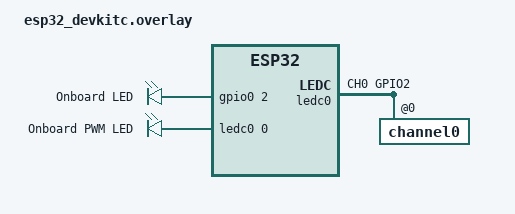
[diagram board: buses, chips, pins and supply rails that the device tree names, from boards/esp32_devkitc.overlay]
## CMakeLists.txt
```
cmake_minimum_required(VERSION 3.20.0)

list(APPEND DTS_ROOT ${CMAKE_CURRENT_SOURCE_DIR}/drivers)

find_package(Zephyr REQUIRED)
project(my_zephyr_app)

add_subdirectory(drivers/sarche_driver)
target_sources(app PRIVATE src/main.cpp)
```

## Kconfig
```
menuconfig LED_SUBSYSTEM
    bool "LED Subsystem"
    default y

source "Kconfig.zephyr"
rsource "drivers/sarche_driver/Kconfig"
```

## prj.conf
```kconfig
CONFIG_GPIO=y
CONFIG_LOG=y
CONFIG_SARCHE_DRIVER=y
```

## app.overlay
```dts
/ {
    aliases {
        app-led = &my_led;
    };

    leds {
        compatible = "gpio-leds";

        my_led: led_0 {
            gpios = <&gpiob 0 GPIO_ACTIVE_HIGH>;
        };
    };
        sarche_driver0: sarche_driver {
        compatible = "sarche,driver";
        status = "okay";
        led-gpios = <&gpiob 0 GPIO_ACTIVE_HIGH>;
    };
};
```

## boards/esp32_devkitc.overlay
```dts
/ {
    leds {
        compatible = "gpio-leds";
        led0: led_0 {
            gpios = <&gpio0 2 GPIO_ACTIVE_HIGH>;
            label = "Onboard LED";
        };
    };

    pwmleds {
        compatible = "pwm-leds";
        pwm_led0: pwm_led_0 {
            label = "Onboard PWM LED";
            /* Channel 0, 20ms (50Hz), normal polarity */
            pwms = <&ledc0 0 20000000 PWM_POLARITY_NORMAL>;
        };
    };

    aliases {
        led0 = &led0;
        pwm-led0 = &pwm_led0;
    };
};

/* Enable the ESP32 LEDC (PWM) controller */
&ledc0 {
    status = "okay";
    pinctrl-0 = <&ledc0_default>;
    pinctrl-names = "default";
    #address-cells = <1>;
    #size-cells = <0>;

    channel0@0 {
        reg = <0>;
        timer = <0>;
    };
};

/* Link PWM Channel 0 to GPIO 2 */
&pinctrl {
    ledc0_default: ledc0_default {
        group1 {
            pinmux = <LEDC_CH0_GPIO2>;
            output-enable;
        };
    };
};
```

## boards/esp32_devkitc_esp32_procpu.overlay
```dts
/* SPDX-License-Identifier: Apache-2.0 */

/ {
	aliases {
		led0 = &led0;
	};

	  leds {
   		compatible = "gpio-leds";
		
   		led0: led_0 {
   			gpios = <&gpio0 2 GPIO_ACTIVE_LOW>;
        };
   	};
};
```

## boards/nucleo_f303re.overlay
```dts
/ {
    pwmleds {
        compatible = "pwm-leds";
        pwm_led_pa5: pwm_led_pa5 {
            pwms = <&pwm2 1 PWM_MSEC(20) PWM_POLARITY_NORMAL>;
            label = "PWM_LED";
        };
    };

    aliases {
        pwm-led0 = &pwm_led_pa5;
    };    
};

&timers2 {
    status = "okay";
    pwm2: pwm {
        status = "okay";
        pinctrl-0 = <&tim2_ch1_pa5>;
        pinctrl-names = "default";
    };
};
```

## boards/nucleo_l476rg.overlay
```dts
/ {
    led_sensor_0: led_sensor {
        compatible = "iomico,led-sensor";
        gpios = <&gpioa 5 GPIO_ACTIVE_HIGH>;
        status = "okay";
    };
};
```

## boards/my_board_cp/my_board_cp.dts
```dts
/*
 * Copyright (c) 2017 Linaro Limited
 *
 * SPDX-License-Identifier: Apache-2.0
 */

/dts-v1/;
#include <st/l4/stm32l476Xg.dtsi>
#include <st/l4/stm32l476r(c-e-g)tx-pinctrl.dtsi>
//#include "arduino_r3_connector.dtsi"
//#include "st_morpho_connector.dtsi"
#include <zephyr/dt-bindings/input/input-event-codes.h>

/ {
	model = "My Board Copied";
	compatible = "my_board_cp,my-board-cp";

	chosen {
		zephyr,console = &usart2;
		zephyr,shell-uart = &usart2;
		zephyr,sram = &sram0;
		zephyr,flash = &flash0;
	};

	leds: leds {
		compatible = "gpio-leds";

		green_led_2: led_2 {
			gpios = <&gpioa 5 GPIO_ACTIVE_HIGH>;
			label = "User LD2";
		};
	};

	gpio_keys {
		compatible = "gpio-keys";

		user_button: button {
			label = "User";
			gpios = <&gpioc 13 GPIO_ACTIVE_LOW>;
			zephyr,code = <INPUT_KEY_0>;
		};
	};

	aliases {
		led0 = &green_led_2;
		sw0 = &user_button;
		volt-sensor0 = &vref;
		volt-sensor1 = &vbat;
	};
};

&clk_lsi {
	status = "okay";
};

&clk_lse {
	status = "okay";
};

&clk_hsi {
	status = "okay";
};

&pll {
	div-m = <1>;
	mul-n = <20>;
	div-r = <4>;
	div-q = <8>;
	clocks = <&clk_hsi>;
	status = "okay";
};

&rcc {
	clocks = <&pll>;
	clock-frequency = <DT_FREQ_M(80)>;
	ahb-prescaler = <1>;
	apb1-prescaler = <1>;
	apb2-prescaler = <1>;
};

stm32_lp_tick_source: &lptim1 {
	clocks = <&rcc STM32_CLOCK(APB1, 31)>,
		 <&rcc STM32_SRC_LSI LPTIM1_SEL(1)>;
	status = "okay";
};

&usart1 {
	pinctrl-0 = <&usart1_tx_pa9 &usart1_rx_pa10>;
	pinctrl-names = "default";
	current-speed = <115200>;
	status = "okay";
};

&usart2 {
	pinctrl-0 = <&usart2_tx_pa2 &usart2_rx_pa3>;
	pinctrl-names = "default";
	current-speed = <115200>;
	status = "okay";
};

&usart3 {
	pinctrl-0 = <&usart3_tx_pb10 &usart3_rx_pb11>;
	pinctrl-names = "default";
	current-speed = <115200>;
};

&i2c1 {
	pinctrl-0 = <&i2c1_scl_pb8 &i2c1_sda_pb9>;
	pinctrl-names = "default";
	status = "okay";
	clock-frequency = <I2C_BITRATE_FAST>;
};

&i2c3 {
	pinctrl-0 = <&i2c3_scl_pc0 &i2c3_sda_pc1>;
	pinctrl-names = "default";
	status = "okay";
	clock-frequency = <I2C_BITRATE_FAST>;
};

&spi1 {
	pinctrl-0 = <&spi1_sck_pa5 &spi1_miso_pa6 &spi1_mosi_pa7>;
	pinctrl-names = "default";
	cs-gpios = <&gpiob 6 (GPIO_ACTIVE_LOW | GPIO_PULL_UP)>;
	status = "okay";
};

&spi2 {
	pinctrl-0 = <&spi2_nss_pb12 &spi2_sck_pb13
		     &spi2_miso_pb14 &spi2_mosi_pb15>;
	pinctrl-names = "default";
	status = "okay";
};

&spi3 {
	/* SPI3 on the ST Morpho Connector CN7 pins 17, 1, 2, 3*/
	pinctrl-0 = <&spi3_nss_pa15 &spi3_sck_pc10
		     &spi3_miso_pc11 &spi3_mosi_pc12>;
	pinctrl-names = "default";
	status = "okay";
};

&timers2 {
	status = "okay";

	pwm2: pwm {
		status = "okay";
		pinctrl-0 = <&tim2_ch3_pb10>;
		pinctrl-names = "default";
	};
};

&timers3 {
	st,prescaler = <10000>;
	status = "okay";

	pwm3: pwm {
		status = "okay";
		pinctrl-0 = <&tim3_ch1_pb4>;
		pinctrl-names = "default";
	};
};

&rtc {
	clocks = <&rcc STM32_CLOCK(APB1, 28)>,
		 <&rcc STM32_SRC_LSI RTC_SEL(2)>;
	status = "okay";
};

&adc1 {
	pinctrl-0 = <&adc1_in1_pc0>;
	pinctrl-names = "default";
	st,adc-clock-source = "SYNC";
	st,adc-prescaler = <4>;
	status = "okay";
};

&vref {
	status = "okay";
};

&vbat {
	status = "okay";
};

&flash0 {
	partitions {
		compatible = "fixed-partitions";
		#address-cells = <1>;
		#size-cells = <1>;

		/* Set 32KB of storage at the end of 1024KB flash */
		storage_partition: partition@f8000 {
			label = "storage";
			reg = <0x000f8000 DT_SIZE_K(32)>;
		};
	};
};

&rng {
	/* Change clock source to avoid using MSI */
	clocks = <&rcc STM32_CLOCK(AHB2, 18)>,
		 <&rcc STM32_SRC_PLL_Q CLK48_SEL(2)>;
	status = "okay";
};
```

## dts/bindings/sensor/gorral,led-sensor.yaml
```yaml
description: Simple LED sensor used for Zephyr driver development homework

compatible: "gorral,led-sensor"

include: base.yaml

properties:
  led-gpios:
    type: phandle-array
    required: true
    description: GPIO connected to the LED controlled by this sensor driver.
```

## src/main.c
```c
#include <errno.h>
#include <stdlib.h>

#include <zephyr/device.h>
#include <zephyr/drivers/sensor.h>
#include <zephyr/kernel.h>
#include <zephyr/logging/log.h>
#include <zephyr/shell/shell.h>

#include "led_sensor.h"

LOG_MODULE_REGISTER(main, LOG_LEVEL_INF);

#define LED_SENSOR_NODE DT_NODELABEL(led_sensor0)

#define SENSOR_SET_MIN_VALUE 0
#define SENSOR_SET_MAX_VALUE 100

#if !DT_NODE_HAS_STATUS(LED_SENSOR_NODE, okay)
#error "led_sensor0 node is not defined in devicetree"
#endif

static const struct device *const led_sensor = DEVICE_DT_GET(LED_SENSOR_NODE);

static int cmd_sensor_fetch(const struct shell *sh, size_t argc, char **argv)
{
int ret;

ARG_UNUSED(argc);
ARG_UNUSED(argv);

if (!device_is_ready(led_sensor)) {
shell_error(sh, "LED sensor device is not ready");
return -ENODEV;
}

ret = sensor_sample_fetch(led_sensor);
if (ret < 0) {
shell_error(sh, "sensor_sample_fetch failed: %d", ret);
return ret;
}

shell_print(sh, "sensor_sample_fetch executed: LED ON");

return 0;
}

static int cmd_sensor_read(const struct shell *sh, size_t argc, char **argv)
{
struct sensor_value value;
int ret;

ARG_UNUSED(argc);
ARG_UNUSED(argv);

if (!device_is_ready(led_sensor)) {
shell_error(sh, "LED sensor device is not ready");
return -ENODEV;
}

ret = sensor_channel_get(led_sensor, SENSOR_CHAN_ALL, &value);
if (ret < 0) {
shell_error(sh, "sensor_channel_get failed: %d", ret);
return ret;
}

shell_print(sh, "sensor_channel_get executed: LED OFF");
shell_print(sh, "sensor value: val1=%d, val2=%d", value.val1, value.val2);

return 0;
}

static int cmd_sensor_info(const struct shell *sh, size_t argc, char **argv)
{
ARG_UNUSED(argc);
ARG_UNUSED(argv);

shell_print(sh, "device name: %s", led_sensor->name);
shell_print(sh, "ready state: %s", device_is_ready(led_sensor) ? "ready" : "not ready");

return 0;
}

static int cmd_sensor_set(const struct shell *sh, size_t argc, char **argv)
{
char *endptr;
long value;
int ret;

if (argc < 2) {
shell_error(sh, "missing value");
shell_error(sh, "usage: sensor set <%d-%d>",
    SENSOR_SET_MIN_VALUE, SENSOR_SET_MAX_VALUE);
return -EINVAL;
}

errno = 0;
value = strtol(argv[1], &endptr, 10);

if ((errno != 0) || (*endptr != '\0')) {
shell_error(sh, "invalid value: %s", argv[1]);
return -EINVAL;
}

if ((value < SENSOR_SET_MIN_VALUE) || (value > SENSOR_SET_MAX_VALUE)) {
shell_error(sh, "value out of range: %ld", value);
shell_error(sh, "allowed range: %d-%d",
    SENSOR_SET_MIN_VALUE, SENSOR_SET_MAX_VALUE);
return -ERANGE;
}

if (!device_is_ready(led_sensor)) {
shell_error(sh, "LED sensor device is not ready");
return -ENODEV;
}

ret = led_sensor_set_runtime_parameter(led_sensor, (int32_t)value);
if (ret < 0) {
shell_error(sh, "led_sensor_set_runtime_parameter failed: %d", ret);
return ret;
}

shell_print(sh, "runtime parameter set to %ld", value);

return 0;
}

SHELL_STATIC_SUBCMD_SET_CREATE(sensor_subcommands,
SHELL_CMD(fetch, NULL, "Call sensor_sample_fetch() and turn LED on.", cmd_sensor_fetch),
SHELL_CMD(read, NULL, "Call sensor_channel_get() and turn LED off.", cmd_sensor_read),
SHELL_CMD(info, NULL, "Print sensor device name and ready state.", cmd_sensor_info),
SHELL_CMD_ARG(set, NULL, "Set runtime parameter. Usage: sensor set <0-100>",
      cmd_sensor_set, 2, 0),
SHELL_SUBCMD_SET_END
);

SHELL_CMD_REGISTER(sensor, &sensor_subcommands, "LED sensor shell commands", NULL);

int main(void)
{
if (!device_is_ready(led_sensor)) {
LOG_ERR("LED sensor device is not ready");
return 0;
}

LOG_INF("LED sensor shell application started");
LOG_INF("Try shell commands: sensor info, sensor fetch, sensor read, sensor set <value>");

return 0;
}
```

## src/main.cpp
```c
#include <zephyr/drivers/gpio.h>
#include <zephyr/kernel.h>
#include <zephyr/logging/log.h>

#define SLEEP_TIME_MS 1000

/* The devicetree node identifier for the "led0" alias. */
#define LED_NODE DT_ALIAS(led0)

static const struct gpio_dt_spec led = GPIO_DT_SPEC_GET(LED_NODE, gpios);

LOG_MODULE_REGISTER(main, LOG_LEVEL_INF);

int main(void)
{
    printk("Hello World! %s\n", CONFIG_BOARD_TARGET);

    bool led_state = true;

    if (!gpio_is_ready_dt(&led)) return 0;

    if (gpio_pin_configure_dt(&led, GPIO_OUTPUT_ACTIVE) < 0) return 0;

    while (1) {
        if (gpio_pin_toggle_dt(&led) < 0) return 0;

        led_state = !led_state;
        LOG_INF("LED state: %s", led_state ? "ON" : "OFF");
        k_msleep(SLEEP_TIME_MS);
    }
    return 0;
}
```

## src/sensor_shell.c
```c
#include <zephyr/shell/shell.h>
#include <zephyr/drivers/sensor.h>
#include <zephyr/device.h>
#include <led_sensor/led_sensor.h>
#include <string.h>

static const struct device *get_led_sensor(void)
{
    return DEVICE_DT_GET_ANY(iomico_led_sensor);
}

/* --- fetch: enciende el LED --- */
static int cmd_sensor_fetch(const struct shell *sh, size_t argc, char **argv)
{
    const struct device *dev = get_led_sensor();

    if (!device_is_ready(dev)) {
        shell_error(sh, "Sensor no disponible");
        return -ENODEV;
    }

    int ret = sensor_sample_fetch(dev);
    if (ret) {
        shell_error(sh, "fetch failed: %d", ret);
        return ret;
    }

    shell_print(sh, "fetch OK - LED encendido");
    return 0;
}

/* --- read: apaga el LED e imprime resultado --- */
static int cmd_sensor_read(const struct shell *sh, size_t argc, char **argv)
{
    const struct device *dev = get_led_sensor();

    if (!device_is_ready(dev)) {
        shell_error(sh, "Sensor no disponible");
        return -ENODEV;
    }

    struct sensor_value val;
    int ret = sensor_channel_get(dev, SENSOR_CHAN_ALL, &val);
    if (ret) {
        shell_error(sh, "channel_get failed: %d", ret);
        return ret;
    }

    shell_print(sh, "read OK - LED apagado, val=%d.%06d", val.val1, val.val2);
    return 0;
}

/* --- info: imprime nombre y estado del device --- */
static int cmd_sensor_info(const struct shell *sh, size_t argc, char **argv)
{
    const struct device *dev = get_led_sensor();

    shell_print(sh, "Device name : %s", dev->name);
    shell_print(sh, "Device ready: %s", device_is_ready(dev) ? "YES" : "NO");
    return 0;
}

/* --- set <mensaje>: llama a la API custom --- */
static int cmd_sensor_set(const struct shell *sh, size_t argc, char **argv)
{
    const struct device *dev = get_led_sensor();

    if (!device_is_ready(dev)) {
        shell_error(sh, "Sensor no disponible");
        return -ENODEV;
    }

    /* argv[0] es "set", argv[1] es el mensaje */
    if (strlen(argv[1]) == 0) {
        shell_error(sh, "Error: el mensaje no puede estar vacio");
        return -EINVAL;
    }

    if (strlen(argv[1]) > 63) {
        shell_error(sh, "Error: mensaje demasiado largo (max 63 chars)");
        return -EINVAL;
    }

    led_sensor_set_message(dev, argv[1]);
    shell_print(sh, "Mensaje seteado: %s", argv[1]);
    return 0;
}

/* --- toggle <valor>: cambia toggle_count con validacion de rango --- */
static int cmd_sensor_toggle(const struct shell *sh, size_t argc, char **argv)
{
    const struct device *dev = get_led_sensor();

    if (!device_is_ready(dev)) {
        shell_error(sh, "Sensor no disponible");
        return -ENODEV;
    }

    int count = atoi(argv[1]);

    if (count < 0 || count > 20) {
        shell_error(sh, "Error: valor fuera de rango (0-20), recibido: %d", count);
        return -EINVAL;
    }

    led_sensor_set_toggle_count(dev, count);
    shell_print(sh, "toggle_count seteado a %d", count);
    return 0;
}

/* --- registro de subcomandos y root command --- */
SHELL_STATIC_SUBCMD_SET_CREATE(sub_sensor,
    SHELL_CMD(fetch, NULL, "Fetch sensor sample (LED ON)", cmd_sensor_fetch),
    SHELL_CMD(read,  NULL, "Read sensor channel (LED OFF)", cmd_sensor_read),
    SHELL_CMD(info,  NULL, "Print device info", cmd_sensor_info),
    SHELL_CMD_ARG(set,    NULL, "Set display message <msg>", cmd_sensor_set, 2, 0),
    SHELL_CMD_ARG(toggle, NULL, "Set toggle count <0-20>", cmd_sensor_toggle, 2, 0),
    SHELL_SUBCMD_SET_END
);

SHELL_CMD_REGISTER(sensor, &sub_sensor, "LED sensor commands", NULL);
```
